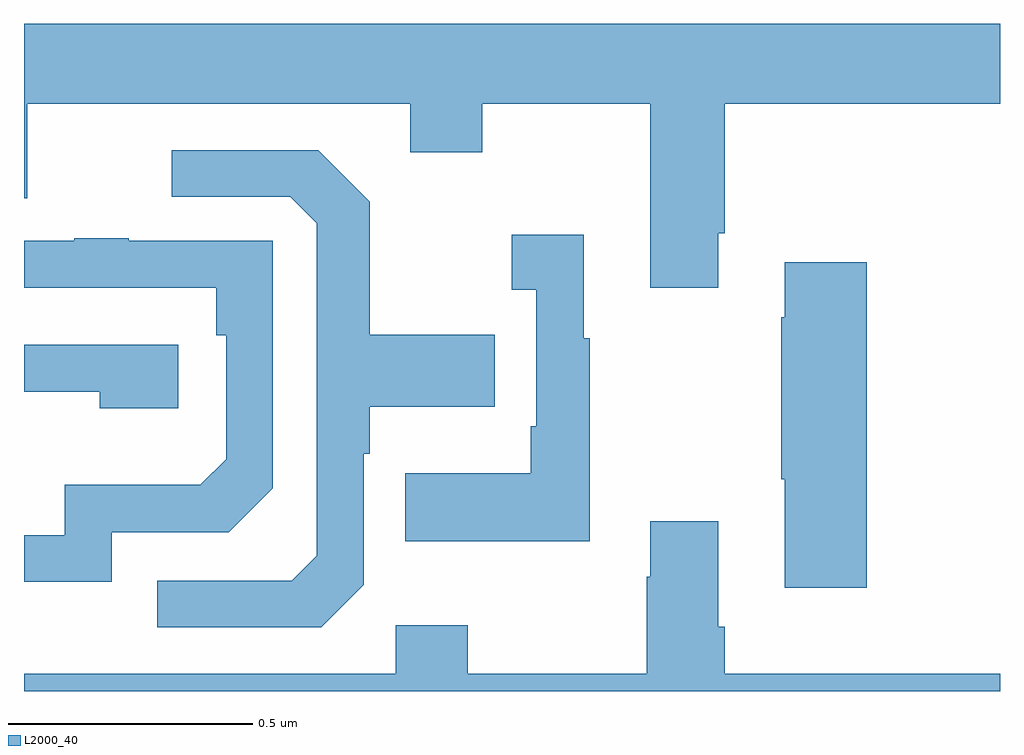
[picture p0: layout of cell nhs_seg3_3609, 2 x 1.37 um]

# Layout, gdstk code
import gdstk
lib = gdstk.Library(unit=1e-6, precision=1e-09)
def P(c, l, *ps):  # polygons
    for p in ps: c.add(gdstk.Polygon(p, *l))
L2000_40 = (2000, 40)

nhs_seg3_3609 = lib.new_cell('nhs_seg3_3609')
P(nhs_seg3_3609, L2000_40, [(157.423,679.339),(157.436,679.339),(157.436,679.604),(158,679.604),(158,679.768),(156,679.768),(156,679.41),(156.007,679.41),(156.007,679.604),(156.791,679.604),(156.791,679.505),(156.939,679.505),(156.939,679.604),(157.283,679.604),(157.283,679.227),(157.423,679.227)],
  [(156.696,678.618),(156.696,678.887),(156.709,678.887),(156.709,678.983),(156.965,678.983),(156.965,679.131),(156.709,679.131),(156.709,679.403),(156.603,679.509),(156.303,679.509),(156.303,679.413),(156.546,679.413),(156.6,679.359),(156.6,678.678),(156.549,678.627),(156.273,678.627),(156.273,678.531),(156.609,678.531)],
  [(157.159,679.123),(157.147,679.123),(157.147,679.336),(156.999,679.336),(156.999,679.223),(157.05,679.223),(157.05,678.943),(157.038,678.943),(157.038,678.847),(156.781,678.847),(156.781,678.707),(157.159,678.707)],
  [(156.18,678.726),(156.42,678.726),(156.51,678.816),(156.51,679.323),(156.215,679.323),(156.215,679.328),(156.103,679.328),(156.103,679.323),(156,679.323),(156,679.227),(156.394,679.227),(156.394,679.13),(156.414,679.13),(156.414,678.876),(156.361,678.823),(156.084,678.823),(156.084,678.72),(156,678.72),(156,678.624),(156.18,678.624)],
  [(157.727,679.279),(157.559,679.279),(157.559,679.166),(157.552,679.166),(157.552,678.835),(157.559,678.835),(157.559,678.612),(157.727,678.612)],
  [(156.316,679.11),(156,679.11),(156,679.014),(156.155,679.014),(156.155,678.98),(156.316,678.98)],
  [(158,678.436),(157.436,678.436),(157.436,678.532),(157.423,678.532),(157.423,678.748),(157.283,678.748),(157.283,678.635),(157.276,678.635),(157.276,678.436),(156.909,678.436),(156.909,678.535),(156.762,678.535),(156.762,678.436),(156,678.436),(156,678.4),(158,678.4)])

lib.write_gds('nhs_seg3_3609.gds')
